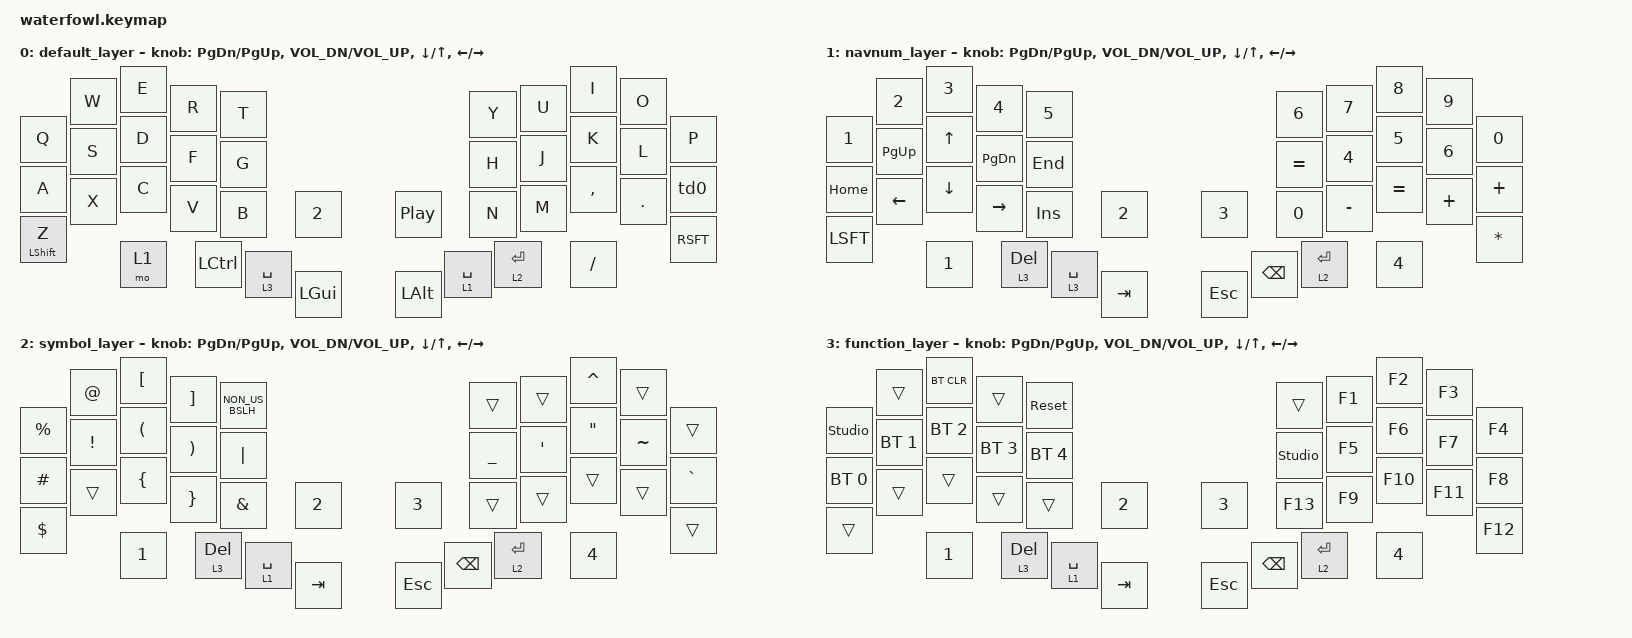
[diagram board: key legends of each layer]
/*
 * Copyright (c) 2022 The ZMK Contributors
 *
 * SPDX-License-Identifier: MIT
 */

#include <behaviors.dtsi>
#include <dt-bindings/zmk/keys.h>
#include <dt-bindings/zmk/bt.h>
#include "waterfowl-layouts.dtsi"



/ {
 behaviors {
        td0: tap_dance_0 {
            compatible = "zmk,behavior-tap-dance";
            label = "TAP_DANCE_0";
            #binding-cells = <0>;
            tapping-term-ms = <175>;
            bindings = <&kp APOS>, <&kp RET>, <&kp SEMI>;
        };
    };

 
    behaviors {
        td1: tap_dance_1 {
            compatible = "zmk,behavior-tap-dance";
            label = "TAP_DANCE_1";
            #binding-cells = <0>;
            tapping-term-ms = <175>;
            bindings = <&kp Z>, <&kp LSFT>;
        };
    };

    mt {
	tapping-term-ms = <175>;
	};

 
    combos {
        compatible = "zmk,combos";
        combo_bspc {
            timeout-ms = <50>;
            key-positions = <8 9>;
            bindings = <&kp BSPC>;
        };
        combo_esc {
            timeout-ms = <50>;
            key-positions = <0 1>;
            bindings = <&kp ESC>;
        };
        combo_tab {
            timeout-ms = <50>;
            key-positions = <10 12>;
            bindings = <&kp TAB>;
        };
    };

chosen { /delete-property/ zmk,matrix-transform; }; 

    keymap {
        compatible = "zmk,keymap";

        default_layer {
/* QWERTY
 *
 * ,----------------------------------.                      ,----------------------------------.
 * |   Q  |   W  |   E  |   R  |   T  |                      |   Y  |   U  |   I  |   O  |   P  |
 * |------+------+------+------+------|                      |------+------+------+------+------|
 * |   A  |   S  |   D  |   F  |   G  |                      |   H  |   J  |   K  |   L  |   ;  |
 * |------+------+------+------+------|  ,-----.    ,-----.  |------+------+------+------+------|
 * |   Z  |   X  |   C  |   V  |   B  |  |  2  |    |  3  |  |   N  |   M  |   ,  |   .  |   /  |
 * `----------------------------------'  `-----'    `-----'  `----------------------------------'
 *          ,-----.   ,--------------------.            ,--------------------.   ,-----.
 *          |  1  |   | DEL | SPACE | TAB  |            |  ESC  | BS | ENTER |   |  4  |
 *          `-----'   `--------------------'            `--------------------'   `-----'
 */
            bindings = <
    &kp Q       &kp W       &kp E       &kp R       &kp T           &kp Y   &kp U       &kp I       &kp O       &kp P
    &kp A       &kp S       &kp D       &kp F       &kp G           &kp H   &kp J       &kp K       &kp L       &td0
    &mt LSHIFT Z       &kp X       &kp C       &kp V       &kp B           &kp N   &kp M       &kp COMMA   &kp DOT     &kp RSFT
    &mo 1      &kp LCTRL   &lt 3 SPACE &kp LGUI     &kp N2          &kp C_PP  &kp LALT     &lt 1 SPACE    &lt 2 RET   &kp SLASH
            >;

            sensor-bindings = <
                &inc_dec_kp PAGE_DOWN PAGE_UP
                &inc_dec_kp C_VOL_DN C_VOL_UP
                &inc_dec_kp DOWN UP
                &inc_dec_kp LEFT RIGHT
            >;
        };

        navnum_layer {
/* NAVNUM
 *
 * ,----------------------------------.                      ,----------------------------------.
 * |      | PgUp |  UP  | PgDn |      |                      |   /  |   7  |   8  |   9  |   -  |
 * |------+------+------+------+------|                      |------+------+------+------+------|
 * | Home | Left | Down | Right| End  |                      |   =  |   4  |   5  |   6  |   +  |
 * |------+------+------+------+------|  ,-----.    ,-----.  |------+------+------+------+------|
 * |      |      |  INS |      |      |  |  2  |    |  3  |  |   0  |   1  |   2  |   3  |   *  |
 * `----------------------------------'  `-----'    `-----'  `----------------------------------'
 *          ,-----.   ,--------------------.            ,--------------------.   ,-----.
 *          |  1  |   | DEL | SPACE | MO(3)|            |  ESC  | BS | ENTER |   |  4  |
 *          `-----'   `--------------------'            `--------------------'   `-----'
 */
            bindings = <
    &kp N1      &kp N2      &kp N3      &kp N4      &kp N5                  &kp N6      &kp N7  &kp N8      &kp N9      &kp N0
    &kp HOME    &kp PG_UP    &kp UP    &kp PG_DN   &kp END                 &kp EQUAL   &kp N4  &kp N5      &kp N6      &kp PLUS
    &kp LSFT      &kp LEFT    &kp DOWN    &kp RIGHT      &kp INS            &kp N0      &kp MINUS  &kp EQUAL      &kp PLUS      &kp ASTERISK
    &kp N1      &lt 3 DEL   &lt 3 SPACE &kp TAB     &kp N2                  &kp N3      &kp ESC &kp BSPC    &lt 2 RET   &kp N4
            >;

            sensor-bindings = <
                &inc_dec_kp PAGE_DOWN PAGE_UP
                &inc_dec_kp C_VOL_DN C_VOL_UP
                &inc_dec_kp DOWN UP
                &inc_dec_kp LEFT RIGHT
            >;
        };

        symbol_layer {
/* SYM
 *
 * ,----------------------------------.                      ,----------------------------------.
 * |   %  |   @  |   [  |   ]  |   \  |                      |      |      |   ^  |      |      |
 * |------+------+------+------+------|                      |------+------+------+------+------|
 * |   #  |   !  |   (  |   )  |   |  |                      |   _  |   '  |   "  |   ~  |   `  |
 * |------+------+------+------+------|  ,-----.    ,-----.  |------+------+------+------+------|
 * |   $  |      |   {  |   }  |   &  |  |  2  |    |  3  |  |      |      |      |      |      |
 * `----------------------------------'  `-----'    `-----'  `----------------------------------'
 *          ,-----.   ,--------------------.            ,--------------------.   ,-----.
 *          |  1  |   | DEL | SPACE | TAB  |            |  ESC  | BS | ENTER |   |  4  |
 *          `-----'   `--------------------'            `--------------------'   `-----'
 */
            bindings = <
    &kp PRCNT       &kp AT      &kp LBKT    &kp RBKT    &kp NON_US_BSLH         &trans          &trans          &kp CARET           &trans      &trans
    &kp HASH        &kp EXCL    &kp LPAR    &kp RPAR    &kp PIPE                &kp UNDER       &kp APOS        &kp DOUBLE_QUOTES   &kp TILDE   &kp GRAVE
    &kp DLLR        &trans      &kp LBRC    &kp RBRC    &kp AMPS                &trans          &trans          &trans              &trans      &trans
    &kp N1          &lt 3 DEL   &lt 1 SPACE &kp TAB     &kp N2                  &kp N3          &kp ESC         &kp BSPC            &lt 2 RET   &kp N4
            >;

            sensor-bindings = <
                &inc_dec_kp PAGE_DOWN PAGE_UP
                &inc_dec_kp C_VOL_DN C_VOL_UP
                &inc_dec_kp DOWN UP
                &inc_dec_kp LEFT RIGHT
            >;
        };

        function_layer {
/* FUNC
 *
 * ,----------------------------------.                      ,----------------------------------.
 * |      |      | BTCLR|      | Reset|                      | Reset|  F7  |  F8  |  F9  |  F11 |
 * |------+------+------+------+------|                      |------+------+------+------+------|
 * |  BT0 |  BT1 |  BT2 |  BT3 |  BT4 |                      |      |  F4  |  F5  |  F6  |  F12 |
 * |------+------+------+------+------|  ,-----.    ,-----.  |------+------+------+------+------|
 * |      |      |      |      |      |  |  2  |    |  3  |  |  F10 |  F1  |  F2  |  F3  |  F13 |
 * `----------------------------------'  `-----'    `-----'  `----------------------------------'
 *          ,-----.   ,--------------------.            ,--------------------.   ,-----.
 *          |  1  |   | DEL | SPACE | TAB  |            |  ESC  | BS | ENTER |   |  4  |
 *          `-----'   `--------------------'            `--------------------'   `-----'
 */
            bindings = <
    &studio_unlock         &trans          &bt BT_CLR      &trans          &sys_reset              &trans 	    &kp F1  &kp F2      &kp F3      &kp F4
    &bt BT_SEL 0    &bt BT_SEL 1    &bt BT_SEL 2    &bt BT_SEL 3    &bt BT_SEL 4        &studio_unlock      &kp F5  &kp F6      &kp F7      &kp F8
    &trans          &trans          &trans          &trans          &trans              &kp F13     &kp F9  &kp F10      &kp F11      &kp F12
    &kp N1          &lt 3 DEL       &lt 1 SPACE     &kp TAB         &kp N2              &kp N3      &kp ESC &kp BSPC    &lt 2 RET   &kp N4
            >;

            sensor-bindings = <
                &inc_dec_kp PAGE_DOWN PAGE_UP
                &inc_dec_kp C_VOL_DN C_VOL_UP
                &inc_dec_kp DOWN UP
                &inc_dec_kp LEFT RIGHT
            >;
        };
        extra1 {
            status = "reserved";
        };

        extra2 {
            status = "reserved";
        };
    };
};
